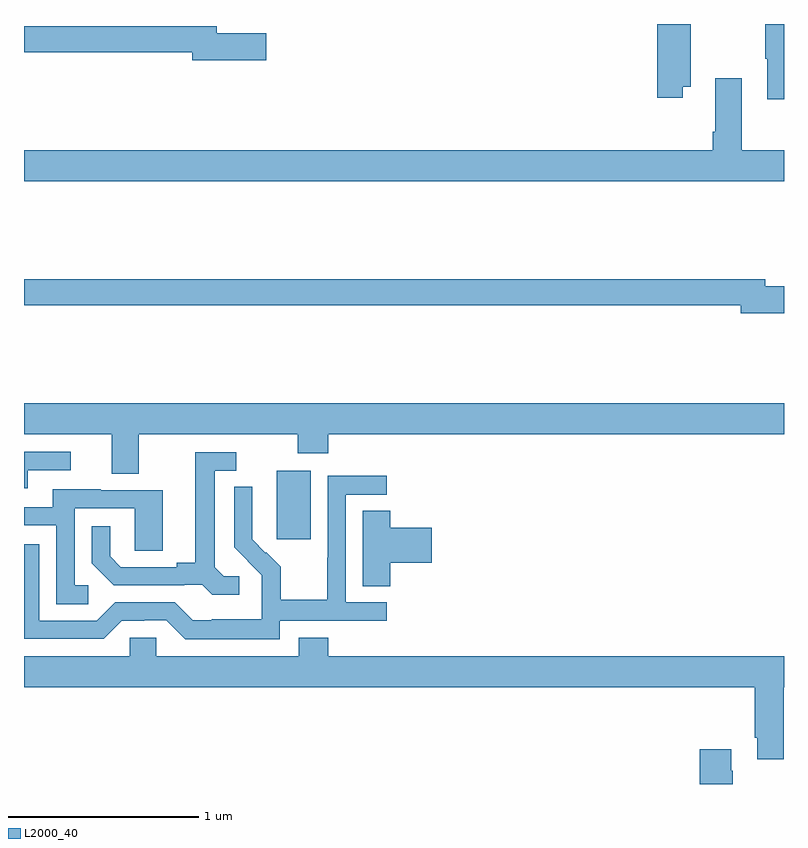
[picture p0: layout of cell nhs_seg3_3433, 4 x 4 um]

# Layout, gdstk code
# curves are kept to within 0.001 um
import gdstk
lib = gdstk.Library(unit=1e-6, precision=1e-09)
def R(c, l, rs):  # rectangles x0, y0, x1, y1
    for r in rs: c.add(gdstk.rectangle(r[:2], r[2:], *l))
def P(c, l, *ps):  # polygons
    for p in ps: c.add(gdstk.Polygon(p, *l))
L2000_40 = (2000, 40)

nhs_seg3_3433 = lib.new_cell('nhs_seg3_3433')
R(nhs_seg3_3433, L2000_40, [(290.33,709.689,290.509,710.05)])
P(nhs_seg3_3433, L2000_40, [(292.468,712.07),(292.509,712.07),(292.509,712.4),(292.334,712.4),(292.334,712.011),(292.468,712.011)],
  [(293,712.4),(292.902,712.4),(292.902,712.217),(292.913,712.217),(292.913,712.005),(293,712.005)],
  [(290.275,712.352),(290.014,712.352),(290.014,712.388),(289,712.388),(289,712.252),(289.886,712.252),(289.886,712.21),(290.275,712.21)],
  [(292.637,712.114),(292.637,711.832),(292.625,711.832),(292.625,711.736),(289,711.736),(289,711.572),(293,711.572),(293,711.736),(292.777,711.736),(292.777,712.114)],
  [(293,711.02),(292.9,711.02),(292.9,711.056),(289,711.056),(289,710.92),(292.772,710.92),(292.772,710.878),(293,710.878)],
  [(289.603,710.24),(290.44,710.24),(290.44,710.141),(290.6,710.141),(290.6,710.24),(293,710.24),(293,710.404),(289,710.404),(289,710.24),(289.463,710.24),(289.463,710.032),(289.603,710.032)],
  [(289.021,710.052),(289.246,710.052),(289.246,710.148),(289,710.148),(289,709.956),(289.021,709.956)],
  [(290.134,709.494),(290.052,709.494),(290.005,709.541),(290.005,710.049),(290.116,710.049),(290.116,710.145),(289.901,710.145),(289.901,709.565),(289.805,709.565),(289.805,709.542),(289.51,709.542),(289.453,709.599),(289.453,709.756),(289.356,709.756),(289.356,709.562),(289.472,709.446),(289.844,709.446),(289.844,709.449),(289.938,709.449),(289.99,709.397),(290.134,709.397)],
  [(290.346,709.26),(290.908,709.26),(290.908,709.356),(290.694,709.356),(290.694,709.923),(290.908,709.923),(290.908,710.022),(290.598,710.022),(290.598,709.592),(290.596,709.592),(290.596,709.369),(290.351,709.369),(290.351,709.543),(290.274,709.62),(290.271,709.617),(290.201,709.688),(290.202,709.964),(290.106,709.964),(290.106,709.646),(290.252,709.498),(290.252,709.401),(290.25,709.401),(290.25,709.267),(289.987,709.267),(289.987,709.263),(289.887,709.263),(289.794,709.356),(289.479,709.356),(289.383,709.26),(289.08,709.26),(289.08,709.662),(289,709.662),(289,709.164),(289.419,709.164),(289.515,709.26),(289.634,709.26),(289.634,709.263),(289.749,709.263),(289.849,709.163),(290.346,709.163)],
  [(289.339,709.446),(289.266,709.446),(289.266,709.851),(289.584,709.851),(289.584,709.627),(289.729,709.627),(289.729,709.947),(289.405,709.947),(289.405,709.951),(289.151,709.951),(289.151,709.857),(289,709.857),(289,709.761),(289.17,709.761),(289.17,709.345),(289.339,709.345)],
  [(290.927,709.565),(291.145,709.565),(291.145,709.748),(290.927,709.748),(290.927,709.838),(290.783,709.838),(290.783,709.441),(290.927,709.441)],
  [(292.847,708.643),(292.859,708.643),(292.859,708.531),(292.999,708.531),(292.999,708.908),(293,708.908),(293,709.072),(290.6,709.072),(290.6,709.171),(290.447,709.171),(290.447,709.072),(289.695,709.072),(289.695,709.17),(289.557,709.17),(289.557,709.072),(289,709.072),(289,708.908),(292.847,708.908)],
  [(292.731,708.47),(292.723,708.47),(292.723,708.583),(292.556,708.583),(292.556,708.4),(292.731,708.4)])

lib.write_gds('nhs_seg3_3433.gds')
